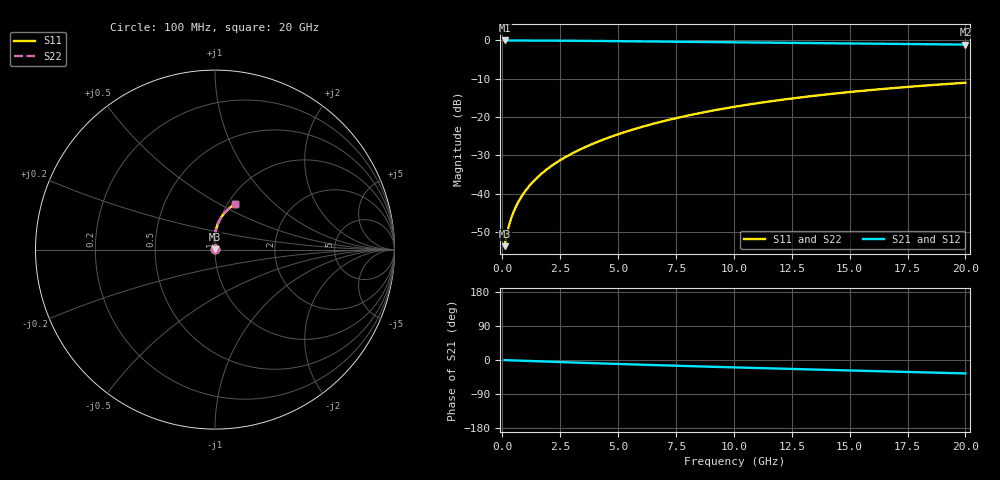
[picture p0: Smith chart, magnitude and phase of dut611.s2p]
! Touchstone file exported from HFSS 2024.1.0
!  File:  C:/UserFiles/LocalFiles/RDL_TSV_Batchsim/temp_RDL_bottom_611_1779783605.aedt
!  Generated:  04:23:05 PM May 26, 2026
!  Design:  RDL_bottom
!  Project:  temp_RDL_bottom_611_1779783605
!  Setup:  Setup1
!  Solution:  Sweep
! Variables:
!  dtsv = 10.80580581um
!  hbump = 3um
!  htsv = 82.94um
!  ldown = 524.15um
!  lrdl = 100um
!  p = 40
!  p1 = 52.72um
!  rhole = 1um
!  t = 450um
!  tdown = 4.54um
!  trdl = 3.915915916um
!  wdown = 28.58um
!  wrdl = 20um
# GHz S MA R 50.000000
! Terminal data exported
! Port[1] = RDL1_T1
! Port[2] = RDL1_T2
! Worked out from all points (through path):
!   200 points, 100 MHz to 20 GHz, reference 50 ohm
!   highest |S21| = -0.01 dB at 100 MHz (marker M1); lowest = -1.1 dB at 20 GHz (marker M2)
!   group delay of S21, straight-line fit = 4.84 ps
!   lowest |S11| = -53.7 dB at 100 MHz (marker M3), VSWR 1.00, Z = 50.2 + j0.125 ohm
!   |S11| at or under -10 dB: start of sweep to end of sweep
!   |S22| runs from -53.7 to -11.0 dB; largest |S21 - S12| = 3.7e-15
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0.1  0.002073 37.0  0.9983 -0.2  0.9983 -0.2  0.002073 37.0
! Gamma 0 0 0 0
! Port Impedance 50 0 50 0
0.2  0.002999 53.6  0.9982 -0.5  0.9982 -0.5  0.002999 53.6
0.3  0.003978 61.5  0.998 -0.7  0.998 -0.7  0.003978 61.5
0.4  0.00495 66.5  0.9978 -0.9  0.9978 -0.9  0.00495 66.5
0.5  0.005921 70.1  0.9977 -1.1  0.9977 -1.1  0.00592 70.1
0.6  0.006899 72.9  0.9975 -1.3  0.9975 -1.3  0.006899 72.9
0.8  0.008888 77.0  0.9972 -1.8  0.9972 -1.8  0.008888 77.0
1.1  0.01196 81.0  0.9966 -2.4  0.9966 -2.4  0.01196 81.0
1.3  0.01405 82.9  0.9961 -2.9  0.9961 -2.9  0.01405 82.9
1.6  0.01726 85.0  0.9952 -3.5  0.9952 -3.5  0.01726 85.0
2.1  0.02279 87.4  0.9934 -4.6  0.9934 -4.6  0.02279 87.4
2.7  0.02974 89.3  0.9908 -5.9  0.9908 -5.9  0.02975 89.3
3.5  0.03957 90.7  0.9867 -7.5  0.9867 -7.5  0.03958 90.7
4.2  0.04869 91.2  0.9825 -8.9  0.9825 -8.9  0.0487 91.3
5  0.05966 91.3  0.9774 -10.5  0.9774 -10.5  0.05968 91.3
6.8  0.08605 89.9  0.9653 -13.9  0.9653 -13.9  0.08609 89.9
8.4  0.1108 87.6  0.9544 -16.7  0.9544 -16.7  0.1108 87.7
10.1  0.1374 84.7  0.9431 -19.6  0.9431 -19.6  0.1375 84.7
11.7  0.1624 81.6  0.9328 -22.3  0.9328 -22.3  0.1625 81.6
13.4  0.1884 78.3  0.9221 -25.1  0.9221 -25.1  0.1885 78.3
16.7  0.2364 72.0  0.9018 -30.4  0.9018 -30.4  0.2365 72.0
20  0.2804 66.0  0.8819 -35.4  0.8819 -35.4  0.2806 66.0
